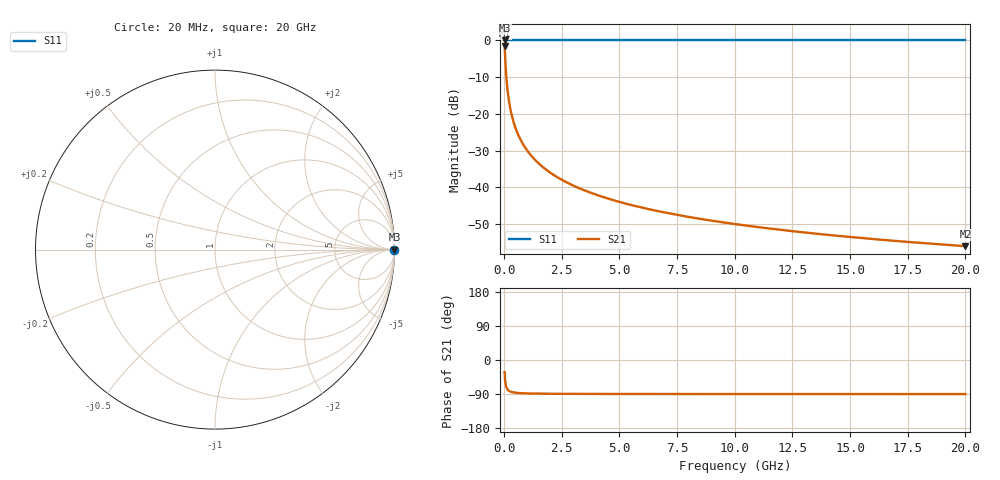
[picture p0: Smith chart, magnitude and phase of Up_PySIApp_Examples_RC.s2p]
# MHz MA S R 50.0
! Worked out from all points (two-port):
!   1000 points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, 20 MHz to 20 GHz, reference 50 ohm
!   highest |S21| = -1.45 dB at 20 MHz (marker M1); lowest = -56.0 dB at 20 GHz (marker M2)
!   |S21| within 3 dB of the highest: start of sweep to 42.68 MHz
!   lowest |S11| = 0.0 dB at 20 MHz (marker M3)
!   |S11| at or under -10 dB: nowhere
!   S12 and S22 are empty: the file has one direction only
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20  1 0.0  0.8467 -32.1  0 0.0  0 0.0
80  1 0.0  0.3697 -68.3  0 0.0  0 0.0
140  1 0.0  0.2217 -77.2  0 0.0  0 0.0
180  1 0.0  0.1741 -80.0  0 0.0  0 0.0
220  1 0.0  0.1432 -81.8  0 0.0  0 0.0
280  1 0.0  0.113 -83.5  0 0.0  0 0.0
340  1 -0.0  0.09321 -84.7  0 0.0  0 0.0
420  1 0.0  0.07557 -85.7  0 0.0  0 0.0
600  1 0.0  0.05298 -87.0  0 0.0  0 0.0
820  1 0.0  0.03879 -87.8  0 0.0  0 0.0
1020  1 0.0  0.03119 -88.2  0 0.0  0 0.0
1240  1 0.0  0.02566 -88.5  0 0.0  0 0.0
1800  1 -0.0  0.01768 -89.0  0 0.0  0 0.0
2500  1 0.0  0.01273 -89.3  0 0.0  0 0.0
3360  1 0.0  0.009473 -89.5  0 0.0  0 0.0
4840  1 0.0  0.006577 -89.6  0 0.0  0 0.0
6680  1 0.0  0.004765 -89.7  0 0.0  0 0.0
8220  1 0.0  0.003872 -89.8  0 0.0  0 0.0
10020  1 0.0  0.003177 -89.8  0 0.0  0 0.0
13340  1 0.0  0.002386 -89.9  0 0.0  0 0.0
16680  1 0.0  0.001908 -89.9  0 0.0  0 0.0
20000  1 0.0  0.001592 -89.9  0 0.0  0 0.0
